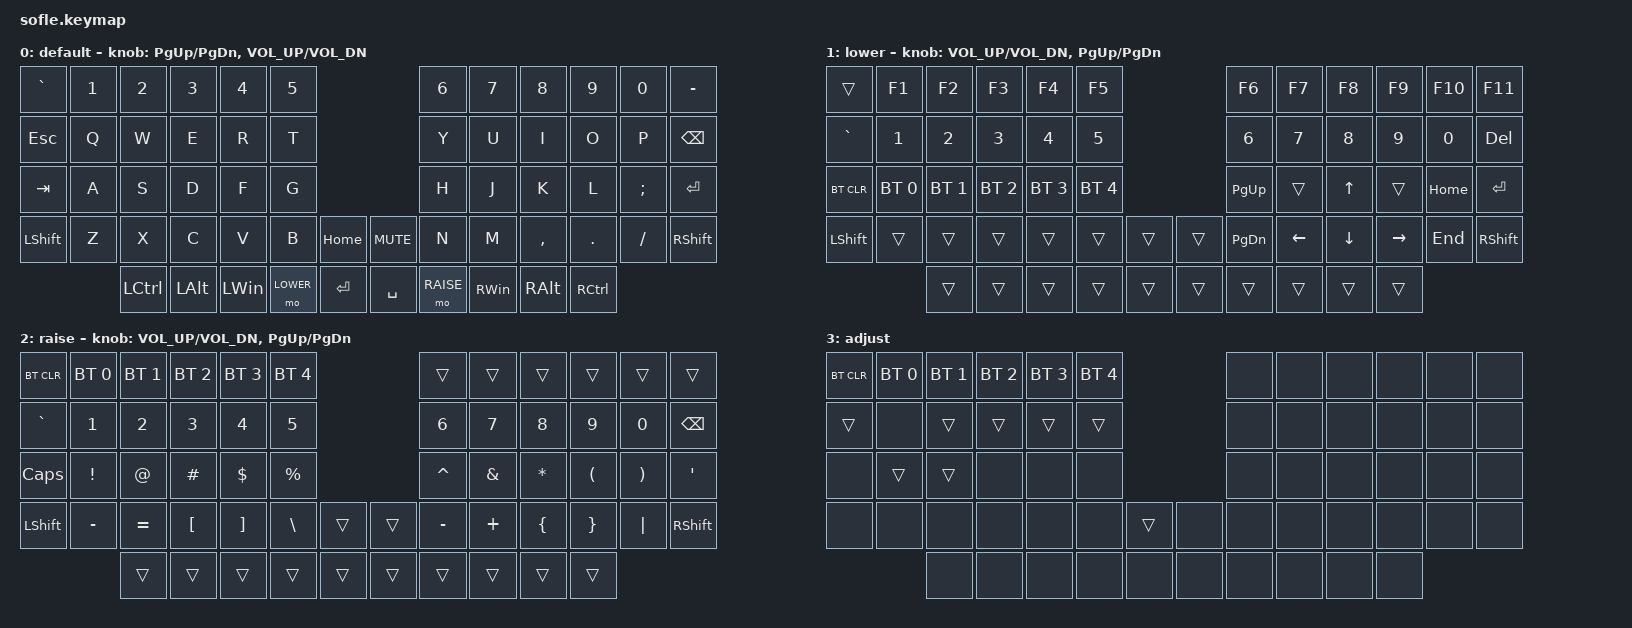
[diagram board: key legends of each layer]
/*
 * Copyright (c) 2020 The ZMK Contributors
 *
 * SPDX-License-Identifier: MIT
 */

#include <behaviors.dtsi>
#include <dt-bindings/zmk/bt.h>
#include <dt-bindings/zmk/keys.h>

#define BASE 0
#define LOWER 1
#define RAISE 2
#define ADJUST 3

/ {
    // Activate ADJUST layer by pressing raise and lower

    conditional_layers {
        compatible = "zmk,conditional-layers";

        adjust_layer {
            if-layers = <LOWER RAISE>;
            then-layer = <ADJUST>;
        };
    };

    keymap {
        compatible = "zmk,keymap";

        default_layer {
            display-name = "default";

            // ------------------------------------------------------------------------------------------------------------
            // |   `   |  1  |  2  |  3   |  4   |  5   |                   |  6   |  7    |  8    |  9   |   0   |       |
            // |  ESC  |  Q  |  W  |  E   |  R   |  T   |                   |  Y   |  U    |  I    |  O   |   P   | BKSPC |
            // |  TAB  |  A  |  S  |  D   |  F   |  G   |                   |  H   |  J    |  K    |  L   |   ;   |   '   |
            // | SHIFT |  Z  |  X  |  C   |  V   |  B   |  MUTE  |  |       |  N   |  M    |  ,    |  .   |   /   | SHIFT |
            //               | GUI | ALT  | CTRL | LOWER|  ENTER |  | SPACE | RAISE| CTRL  | ALT   | GUI  |

            bindings = <
&kp GRAVE  &kp N1  &kp N2            &kp N3    &kp N4        &kp N5                             &kp N6     &kp N7         &kp N8     &kp N9             &kp N0    &kp MINUS
&kp ESC    &kp Q   &kp W             &kp E     &kp R         &kp T                              &kp Y      &kp U          &kp I      &kp O              &kp P     &kp BSPC
&kp TAB    &kp A   &kp S             &kp D     &kp F         &kp G                              &kp H      &kp J          &kp K      &kp L              &kp SEMI  &kp ENTER
&kp LSHFT  &kp Z   &kp X             &kp C     &kp V         &kp B      &kp HOME    &kp C_MUTE  &kp N      &kp M          &kp COMMA  &kp DOT            &kp FSLH  &kp RSHFT
                   &kp LEFT_CONTROL  &kp LALT  &kp LEFT_WIN  &mo LOWER  &kp RET     &kp SPACE   &mo RAISE  &kp RIGHT_WIN  &kp RALT   &kp RIGHT_CONTROL
            >;

            sensor-bindings =
                <&inc_dec_kp PAGE_UP PAGE_DOWN>,
                <&inc_dec_kp C_VOLUME_UP C_VOL_DN>;
        };

        lower_layer {
            display-name = "lower";

            // TODO: Some binds are waiting for shifted keycode support.
            // ------------------------------------------------------------------------------------------------------------
            // |       |  F1 |  F2 |  F3  |  F4  |  F5  |                   |  F6  |  F7   |  F8   |  F9  |  F10  |  F11  |
            // |   `   |  1  |  2  |  3   |  4   |  5   |                   |  6   |  7    |  8    |  9   |   0   |  F12  |
            // |       |  !  |  @  |  #   |  $   |  %   |                   |  ^   |  &    |  *    |  (   |   )   |   |   |
            // |       |  =  |  -  |  +   |  {   |  }   |        |  |       |  [   |  ]    |  ;    |  :   |   \   |       |
            //               |     |      |      |      |        |  |       |      |       |       |      |

            bindings = <
&trans          &kp F1        &kp F2        &kp F3        &kp F4        &kp F5                          &kp F6         &kp F7    &kp F8          &kp F9           &kp F10   &kp F11
&kp GRAVE       &kp N1        &kp N2        &kp N3        &kp N4        &kp N5                          &kp N6         &kp N7    &kp N8          &kp N9           &kp N0    &kp DELETE
&bt BT_CLR      &bt BT_SEL 0  &bt BT_SEL 1  &bt BT_SEL 2  &bt BT_SEL 3  &bt BT_SEL 4                    &kp PAGE_UP    &trans    &kp UP_ARROW    &trans           &kp HOME  &kp ENTER
&kp LEFT_SHIFT  &trans        &trans        &trans        &trans        &trans        &trans    &trans  &kp PAGE_DOWN  &kp LEFT  &kp DOWN_ARROW  &kp RIGHT_ARROW  &kp END   &kp RIGHT_SHIFT
                              &trans        &trans        &trans        &trans        &trans    &trans  &trans         &trans    &trans          &trans
            >;

            sensor-bindings = <&inc_dec_kp C_VOL_UP C_VOL_DN &inc_dec_kp PG_UP PG_DN>;
        };

        raise_layer {
            display-name = "raise";

            // ------------------------------------------------------------------------------------------------------------
            // | BTCLR | BT1  | BT2  |  BT3  |  BT4  |  BT5 |                |      |      |       |      |       |       |
            // |       | INS  | PSCR | GUI   |       |      |                | PGUP |      |   ^   |      |       |       |
            // |       | ALT  | CTRL | SHIFT |       | CAPS |                | PGDN |   <- |   v   |  ->  |  DEL  | BKSPC |
            // |       | UNDO | CUT  | COPY  | PASTE |      |      |  |      |      |      |       |      |       |       |
            //                |      |       |       |      |      |  |      |      |      |       |      |

            bindings = <
&bt BT_CLR      &bt BT_SEL 0     &bt BT_SEL 1  &bt BT_SEL 2      &bt BT_SEL 3       &bt BT_SEL 4                     &trans        &trans         &trans          &trans                &trans                 &trans
&kp GRAVE       &kp NUMBER_1     &kp NUMBER_2  &kp NUMBER_3      &kp NUMBER_4       &kp N5                           &kp NUMBER_6  &kp NUMBER_7   &kp NUMBER_8    &kp NUMBER_9          &kp NUMBER_0           &kp BACKSPACE
&kp CAPS        &kp EXCLAMATION  &kp AT_SIGN   &kp HASH          &kp DOLLAR         &kp PERCENT                      &kp CARET     &kp AMPERSAND  &kp ASTERISK    &kp LEFT_PARENTHESIS  &kp RIGHT_PARENTHESIS  &kp SQT
&kp LEFT_SHIFT  &kp MINUS        &kp EQUAL     &kp LEFT_BRACKET  &kp RIGHT_BRACKET  &kp BACKSLASH  &trans    &trans  &kp MINUS     &kp PLUS       &kp LEFT_BRACE  &kp RIGHT_BRACE       &kp PIPE               &kp RIGHT_SHIFT
                                 &trans        &trans            &trans             &trans         &trans    &trans  &trans        &trans         &trans          &trans
            >;

            sensor-bindings = <&inc_dec_kp C_VOL_UP C_VOL_DN &inc_dec_kp PG_UP PG_DN>;
        };

        adjust_layer {
            // ----------------------------------------------------------------------------------------------------------------------------
            // | BTCLR  |  BT1    |  BT2    |   BT3   |   BT4   |   BT5   |                  |      |      |       |      |       |       |
            // | EXTPWR | RGB_HUD | RGB_HUI | RGB_SAD | RGB_SAI | RGB_EFF |                  |      |      |       |      |       |       |
            // |        | RGB_BRD | RGB_BRI |         |         |         |                  |      |      |       |      |       |       |
            // |        |         |         |         |         |         | RGB_TOG | |      |      |      |       |      |       |       |
            //                    |         |         |         |         |         | |      |      |      |       |      |

            display-name = "adjust";
            bindings = <
&bt BT_CLR  &bt BT_SEL 0  &bt BT_SEL 1  &bt BT_SEL 2  &bt BT_SEL 3  &bt BT_SEL 4                   &none  &none  &none  &none  &none  &none
&trans      &none         &trans        &trans        &trans        &trans                         &none  &none  &none  &none  &none  &none
&none       &trans        &trans        &none         &none         &none                          &none  &none  &none  &none  &none  &none
&none       &none         &none         &none         &none         &none         &trans    &none  &none  &none  &none  &none  &none  &none
                          &none         &none         &none         &none         &none     &none  &none  &none  &none  &none
            >;
        };
    };
};
